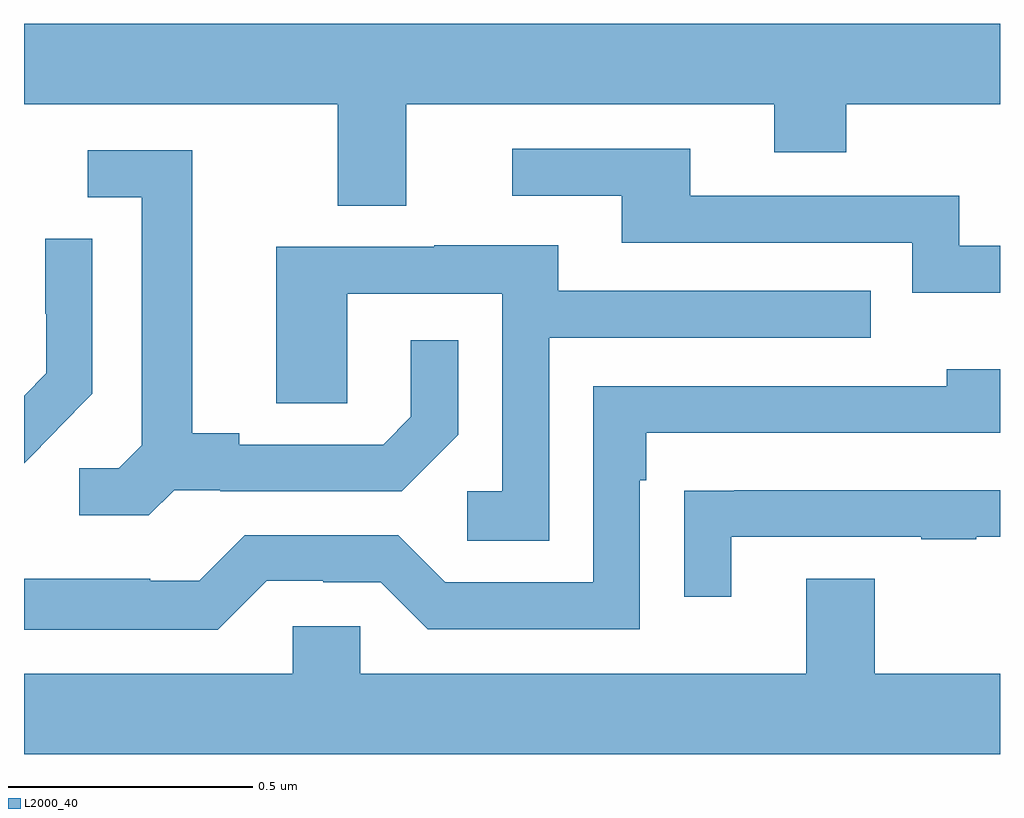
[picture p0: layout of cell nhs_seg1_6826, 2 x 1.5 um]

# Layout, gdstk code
import gdstk
lib = gdstk.Library(unit=1e-6, precision=1e-09)
def P(c, l, *ps):  # polygons
    for p in ps: c.add(gdstk.Polygon(p, *l))
L2000_40 = (2000, 40)

nhs_seg1_6826 = lib.new_cell('nhs_seg1_6826')
P(nhs_seg1_6826, L2000_40, [(196.783,539.744),(197.537,539.744),(197.537,539.645),(197.685,539.645),(197.685,539.744),(198,539.744),(198,539.908),(196,539.908),(196,539.744),(196.643,539.744),(196.643,539.536),(196.783,539.536)],
  [(198,539.454),(197.916,539.454),(197.916,539.556),(197.365,539.556),(197.365,539.652),(197.001,539.652),(197.001,539.556),(197.225,539.556),(197.225,539.46),(197.82,539.46),(197.82,539.357),(198,539.357)],
  [(196.308,538.953),(196.402,538.953),(196.402,538.95),(196.774,538.95),(196.89,539.066),(196.89,539.26),(196.793,539.26),(196.793,539.103),(196.736,539.046),(196.441,539.046),(196.441,539.069),(196.345,539.069),(196.345,539.649),(196.131,539.649),(196.131,539.553),(196.241,539.553),(196.241,539.045),(196.194,538.998),(196.113,538.998),(196.113,538.901),(196.256,538.901)],
  [(196.068,539.076),(196.067,539.077),(196.14,539.15),(196.14,539.468),(196.044,539.468),(196.044,539.314),(196.046,539.314),(196.046,539.192),(196,539.146),(196,539.008)],
  [(197.076,539.265),(197.735,539.265),(197.735,539.361),(197.095,539.361),(197.095,539.455),(196.841,539.455),(196.841,539.451),(196.517,539.451),(196.517,539.131),(196.662,539.131),(196.662,539.355),(196.98,539.355),(196.98,538.95),(196.908,538.95),(196.908,538.849),(197.076,538.849)],
  [(196.497,538.767),(196.613,538.767),(196.613,538.764),(196.731,538.764),(196.827,538.668),(197.262,538.668),(197.262,538.973),(197.275,538.973),(197.275,539.07),(198,539.07),(198,539.2),(197.891,539.2),(197.891,539.166),(197.166,539.166),(197.166,538.764),(196.863,538.764),(196.767,538.86),(196.452,538.86),(196.359,538.767),(196.259,538.767),(196.259,538.771),(196,538.771),(196,538.667),(196.397,538.667)],
  [(197.449,538.857),(197.839,538.857),(197.839,538.852),(197.951,538.852),(197.951,538.857),(198,538.857),(198,538.953),(197.455,538.953),(197.455,538.952),(197.353,538.952),(197.353,538.734),(197.449,538.734)],
  [(198,538.576),(197.743,538.576),(197.743,538.771),(197.603,538.771),(197.603,538.576),(196.689,538.576),(196.689,538.674),(196.551,538.674),(196.551,538.576),(196,538.576),(196,538.412),(198,538.412)])

lib.write_gds('nhs_seg1_6826.gds')
